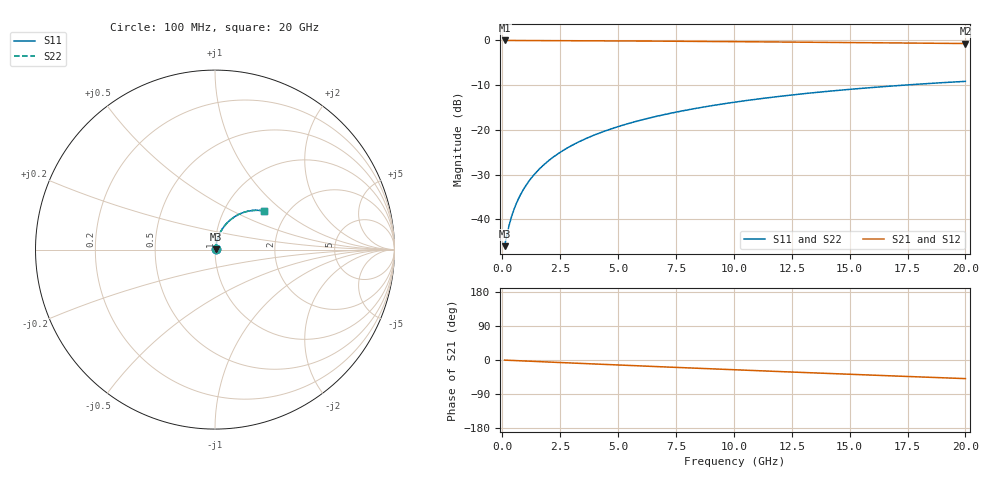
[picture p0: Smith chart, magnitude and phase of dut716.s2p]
! Touchstone file exported from HFSS 2026.1.0
!  File:  C:/ffzhzh/LocalFiles/Ansys_Project_Files/temp_train_BSMRDL_716_1783168295_22436.aedt
!  Generated:  08:32:56 PM Jul  4, 2026
!  Design:  BSMRDL
!  Project:  temp_train_BSMRDL_716_1783168295_22436
! Variables:
!  h_bsmrdl = 4.42um
!  h_ox = 20um
!  h_rdl = 5um
!  h_sub = 80um
!  h_tmrdl = 5um
!  h_tsv = 80um
!  h_via = 3um
!  l_bsmrdl = 809.5um
!  l_sub = 1209.5um
!  l_tmrdl = 200um
!  m_sub = 200um
!  pitch = 30.16um
!  r_tsv = 6um
!  s_tmrdl = 10um
!  w_bsmrdl = 15.33um
!  w_sub = 500um
!  w_tmrdl = 12um
!  x_tsv_center1 = 206um
!  x_tsv_center2 = 1030.83um
!  x_tsv_center3 = 1242.83um
!  x_tsv_center4 = 2067.66um
!  x_tsv_center5 = 2279.66um
!  x_tsv_center6 = 3104.49um
# GHz S MA R 50.000000
! Terminal data exported
! Port[1] = BSM_RDL1_1_T1
! Port[2] = BSM_RDL1_1_T2
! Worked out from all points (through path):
!   200 points, 100 MHz to 20 GHz, reference 50 ohm
!   highest |S21| = -0.04 dB at 100 MHz (marker M1); lowest = -0.7 dB at 20 GHz (marker M2)
!   group delay of S21, straight-line fit = 6.81 ps
!   lowest |S11| = -46.0 dB at 100 MHz (marker M3), VSWR 1.01, Z = 50.4 + j0.254 ohm
!   |S11| at or under -10 dB: start of sweep to 17.4 GHz
!   |S22| runs from -46.0 to -9.2 dB; largest |S21 - S12| = 6.2e-15
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0.1  0.005019 30.2  0.9957 -0.3  0.9957 -0.3  0.005019 30.2
! Gamma 0 0 0 0
! Port Impedance 50 0 50 0
0.2  0.006725 47.2  0.9955 -0.6  0.9955 -0.6  0.006725 47.2
0.3  0.008698 56.2  0.9952 -0.8  0.9952 -0.8  0.008698 56.2
0.4  0.01074 61.7  0.9951 -1.1  0.9951 -1.1  0.01074 61.7
0.5  0.0128 65.4  0.9949 -1.4  0.9949 -1.4  0.0128 65.4
0.6  0.01489 68.1  0.9948 -1.6  0.9948 -1.6  0.01489 68.1
0.8  0.01913 71.7  0.9945 -2.2  0.9945 -2.2  0.01913 71.7
1  0.02343 73.8  0.9943 -2.7  0.9943 -2.7  0.02343 73.8
1.2  0.02776 75.2  0.9941 -3.2  0.9941 -3.2  0.02776 75.2
1.4  0.03212 76.0  0.9938 -3.8  0.9938 -3.8  0.03212 76.0
1.7  0.03867 76.7  0.9934 -4.6  0.9934 -4.6  0.03867 76.6
2.2  0.04957 76.8  0.9925 -5.9  0.9925 -5.9  0.04957 76.8
2.8  0.06255 76.3  0.9912 -7.5  0.9912 -7.5  0.06255 76.3
3.5  0.07749 75.1  0.9895 -9.3  0.9895 -9.3  0.07749 75.1
4.2  0.09216 73.7  0.9875 -11.1  0.9875 -11.1  0.09216 73.7
5  0.1086 72.0  0.985 -13.2  0.985 -13.2  0.1086 72.0
6.8  0.1442 67.9  0.9786 -17.8  0.9786 -17.8  0.1442 67.9
8.3  0.1725 64.4  0.9728 -21.5  0.9728 -21.5  0.1725 64.4
10.1  0.2048 60.3  0.9653 -26.0  0.9653 -26.0  0.2048 60.3
13.4  0.2592 52.8  0.9506 -33.9  0.9506 -33.9  0.2591 52.7
16.7  0.307 45.4  0.9354 -41.6  0.9354 -41.6  0.3069 45.4
20  0.3478 38.2  0.9205 -49.1  0.9205 -49.1  0.3478 38.2
